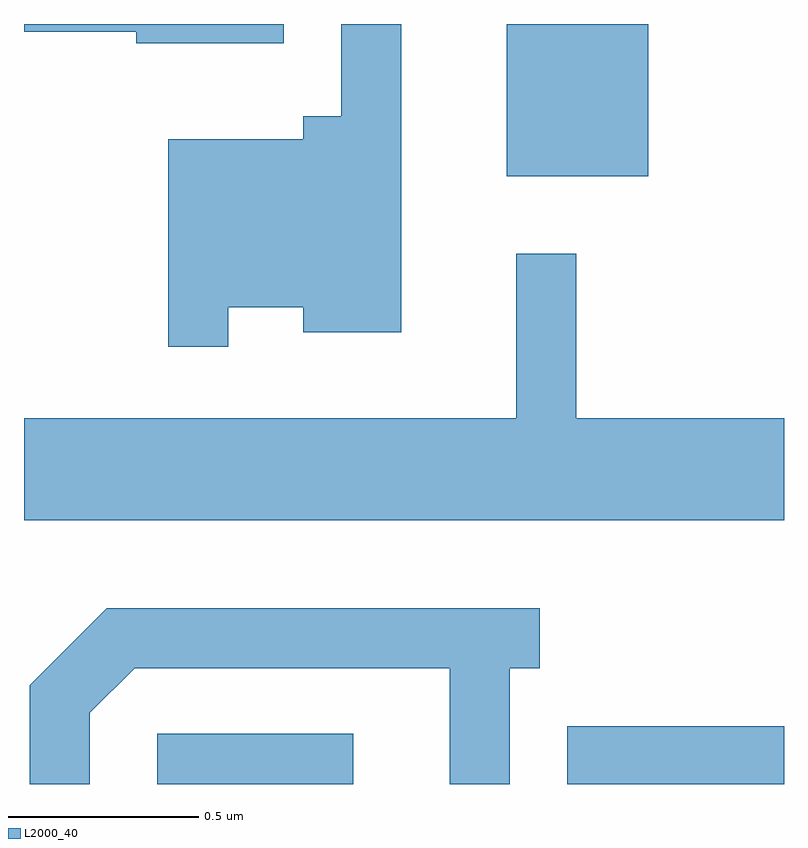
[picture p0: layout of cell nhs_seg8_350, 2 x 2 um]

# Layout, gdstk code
import gdstk
lib = gdstk.Library(unit=1e-6, precision=1e-09)
def R(c, l, rs):  # rectangles x0, y0, x1, y1
    for r in rs: c.add(gdstk.rectangle(r[:2], r[2:], *l))
def P(c, l, *ps):  # polygons
    for p in ps: c.add(gdstk.Polygon(p, *l))
L2000_40 = (2000, 40)

nhs_seg8_350 = lib.new_cell('nhs_seg8_350')
R(nhs_seg8_350, L2000_40, [(187.961,1882.342,188.478,1882.474), (189.041,1882.342,189.611,1882.494), (188.881,1883.941,189.254,1884.342)])
P(nhs_seg8_350, L2000_40, [(188.149,1883.596),(188.346,1883.596),(188.346,1883.531),(188.604,1883.531),(188.604,1884.342),(188.446,1884.342),(188.446,1884.099),(188.346,1884.099),(188.346,1884.039),(187.991,1884.039),(187.991,1883.493),(188.149,1883.493)],
  [(188.294,1884.342),(187.611,1884.342),(187.611,1884.321),(187.906,1884.321),(187.906,1884.291),(188.294,1884.291)],
  [(189.611,1883.304),(189.064,1883.304),(189.064,1883.738),(188.906,1883.738),(188.906,1883.304),(187.611,1883.304),(187.611,1883.036),(189.611,1883.036)],
  [(187.784,1882.529),(187.902,1882.646),(188.731,1882.646),(188.731,1882.342),(188.889,1882.342),(188.889,1882.646),(188.968,1882.646),(188.968,1882.804),(187.829,1882.804),(187.626,1882.602),(187.626,1882.342),(187.784,1882.342)])

lib.write_gds('nhs_seg8_350.gds')
